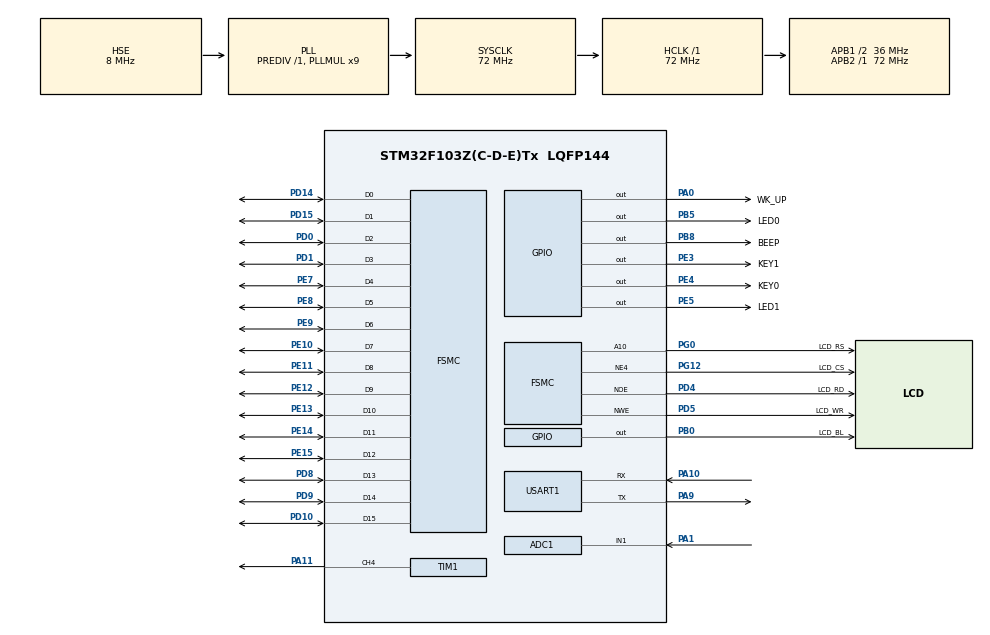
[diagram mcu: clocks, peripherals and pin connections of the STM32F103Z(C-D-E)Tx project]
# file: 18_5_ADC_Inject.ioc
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ADC1.Channel-1\#ChannelInjectedConversion=ADC_CHANNEL_1
ADC1.ContinuousConvMode=ENABLE
ADC1.EnableInjectedConversion=ENABLE
ADC1.EnableRegularConversion=DISABLE
ADC1.ExternalTrigInjecConv=ADC_EXTERNALTRIGINJECCONV_T1_CC4
ADC1.InjNumberOfConversion=1
ADC1.InjectedOffset-1\#ChannelInjectedConversion=0
ADC1.InjectedRank-1\#ChannelInjectedConversion=1
ADC1.SamplingTime-1\#ChannelInjectedConversion=ADC_SAMPLETIME_239CYCLES_5
ADC1.master=1
FSMC.AddressSetupTime1=0
FSMC.BusTurnAroundDuration1=15
FSMC.DataSetupTime1=15
FSMC.ExtendedAddressSetupTime1=0
FSMC.ExtendedDataSetupTime1=1
FSMC.ExtendedMode1=FSMC_EXTENDED_MODE_ENABLE
Mcu.Family=STM32F1
Mcu.Name=STM32F103Z(C-D-E)Tx
Mcu.Package=LQFP144
NVIC.ADC1_2_IRQn=true\:0\:0\:false\:false\:true\:true\:true\:true
NVIC.PriorityGroup=NVIC_PRIORITYGROUP_2
NVIC.USART1_IRQn=true\:2\:2\:true\:false\:true\:true\:true\:true
OSC_IN.Mode=HSE-External-Oscillator
OSC_IN.Signal=RCC_OSC_IN
OSC_OUT.Mode=HSE-External-Oscillator
OSC_OUT.Signal=RCC_OSC_OUT
PA0-WKUP.GPIO_Label=WK_UP
PA0-WKUP.GPIO_PuPd=GPIO_PULLDOWN
PA0-WKUP.GPIO_Speed=GPIO_SPEED_FREQ_HIGH
PA0-WKUP.PinState=GPIO_PIN_RESET
PA0-WKUP.Signal=GPIO_Output
PA1.Signal=ADCx_IN1
PA10.Mode=Asynchronous
PA10.Signal=USART1_RX
PA11.Signal=S_TIM1_CH4
PA13.Mode=Serial_Wire
PA13.Signal=SYS_JTMS-SWDIO
PA14.Mode=Serial_Wire
PA14.Signal=SYS_JTCK-SWCLK
PA9.Mode=Asynchronous
PA9.Signal=USART1_TX
PB0.GPIO_Label=LCD_BL
PB0.GPIO_PuPd=GPIO_PULLUP
PB0.GPIO_Speed=GPIO_SPEED_FREQ_HIGH
PB0.PinState=GPIO_PIN_SET
PB0.Signal=GPIO_Output
PB5.GPIO_Label=LED0
PB5.GPIO_PuPd=GPIO_PULLUP
PB5.GPIO_Speed=GPIO_SPEED_FREQ_HIGH
PB5.PinState=GPIO_PIN_SET
PB5.Signal=GPIO_Output
PB8.GPIO_Label=BEEP
PB8.GPIO_ModeDefaultOutputPP=GPIO_MODE_OUTPUT_PP
PB8.GPIO_PuPd=GPIO_PULLDOWN
PB8.GPIO_Speed=GPIO_SPEED_FREQ_HIGH
PB8.PinState=GPIO_PIN_RESET
PB8.Signal=GPIO_Output
PC14-OSC32_IN.Mode=LSE-External-Oscillator
PC14-OSC32_IN.Signal=RCC_OSC32_IN
PC15-OSC32_OUT.Mode=LSE-External-Oscillator
PC15-OSC32_OUT.Signal=RCC_OSC32_OUT
PD0.Signal=FSMC_D2_DA2
PD1.Signal=FSMC_D3_DA3
PD10.Signal=FSMC_D15_DA15
PD14.Signal=FSMC_D0_DA0
PD15.Signal=FSMC_D1_DA1
PD4.GPIO_Label=LCD_RD
PD4.Signal=FSMC_NOE
PD5.GPIO_Label=LCD_WR
PD5.Signal=FSMC_NWE
PD8.Signal=FSMC_D13_DA13
PD9.Signal=FSMC_D14_DA14
PE10.Signal=FSMC_D7_DA7
PE11.Signal=FSMC_D8_DA8
PE12.Signal=FSMC_D9_DA9
PE13.Signal=FSMC_D10_DA10
PE14.Signal=FSMC_D11_DA11
PE15.Signal=FSMC_D12_DA12
PE3.GPIO_Label=KEY1
PE3.GPIO_PuPd=GPIO_PULLUP
PE3.GPIO_Speed=GPIO_SPEED_FREQ_HIGH
PE3.PinState=GPIO_PIN_SET
PE3.Signal=GPIO_Output
PE4.GPIO_Label=KEY0
PE4.GPIO_PuPd=GPIO_PULLUP
PE4.GPIO_Speed=GPIO_SPEED_FREQ_HIGH
PE4.PinState=GPIO_PIN_SET
PE4.Signal=GPIO_Output
PE5.GPIO_Label=LED1
PE5.GPIO_PuPd=GPIO_PULLUP
PE5.GPIO_Speed=GPIO_SPEED_FREQ_HIGH
PE5.PinState=GPIO_PIN_SET
PE5.Signal=GPIO_Output
PE7.Signal=FSMC_D4_DA4
PE8.Signal=FSMC_D5_DA5
PE9.Signal=FSMC_D6_DA6
PG0.GPIO_Label=LCD_RS
PG0.Signal=FSMC_A10
PG12.GPIO_Label=LCD_CS
PG12.Mode=NorPsramChipSelect4_1
PG12.Signal=FSMC_NE4
ProjectManager.HeapSize=0x200
ProjectManager.StackSize=0x400
ProjectManager.TargetToolchain=STM32CubeIDE
RCC.ADCPresc=RCC_ADCPCLK2_DIV6
RCC.AHBFreq_Value=72000000
RCC.APB1CLKDivider=RCC_HCLK_DIV2
RCC.APB1Freq_Value=36000000
RCC.APB1TimFreq_Value=72000000
RCC.APB2Freq_Value=72000000
RCC.APB2TimFreq_Value=72000000
RCC.HCLKFreq_Value=72000000
RCC.PLLMUL=RCC_PLL_MUL9
RCC.PLLSourceVirtual=RCC_PLLSOURCE_HSE
RCC.SYSCLKFreq_VALUE=72000000
RCC.SYSCLKSource=RCC_SYSCLKSOURCE_PLLCLK
RCC.USBFreq_Value=72000000
SH.ADCx_IN1.0=ADC1_IN1,IN1
SH.FSMC_A10.0=FSMC_A10,A10_1
SH.FSMC_D0_DA0.0=FSMC_D0,16b-d1
SH.FSMC_D10_DA10.0=FSMC_D10,16b-d1
SH.FSMC_D11_DA11.0=FSMC_D11,16b-d1
SH.FSMC_D12_DA12.0=FSMC_D12,16b-d1
SH.FSMC_D13_DA13.0=FSMC_D13,16b-d1
SH.FSMC_D14_DA14.0=FSMC_D14,16b-d1
SH.FSMC_D15_DA15.0=FSMC_D15,16b-d1
SH.FSMC_D1_DA1.0=FSMC_D1,16b-d1
SH.FSMC_D2_DA2.0=FSMC_D2,16b-d1
SH.FSMC_D3_DA3.0=FSMC_D3,16b-d1
SH.FSMC_D4_DA4.0=FSMC_D4,16b-d1
SH.FSMC_D5_DA5.0=FSMC_D5,16b-d1
SH.FSMC_D6_DA6.0=FSMC_D6,16b-d1
SH.FSMC_D7_DA7.0=FSMC_D7,16b-d1
SH.FSMC_D8_DA8.0=FSMC_D8,16b-d1
SH.FSMC_D9_DA9.0=FSMC_D9,16b-d1
SH.FSMC_NOE.0=FSMC_NOE,Lcd1
SH.FSMC_NWE.0=FSMC_NWE,Lcd1
SH.S_TIM1_CH4.0=TIM1_CH4,PWM Generation4 CH4
TIM1.AutoReloadPreload=TIM_AUTORELOAD_PRELOAD_ENABLE
TIM1.Channel-PWM\ Generation4\ CH4=TIM_CHANNEL_4
TIM1.Period=5000 - 1
TIM1.Prescaler=7200 - 1
TIM1.Pulse-PWM\ Generation4\ CH4=2500
USART1.VirtualMode=VM_ASYNC
VP_TIM1_VS_ClockSourceINT.Mode=Internal
board=custom

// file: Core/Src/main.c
/* USER CODE BEGIN Header */

/* USER CODE END Header */
#include "main.h"
#include "adc.h"
#include "tim.h"
#include "usart.h"
#include "gpio.h"
#include "fsmc.h"

/* USER CODE BEGIN Includes */
#include "../../BSP/LED/led.h"
#include "../../BSP/KEY/key.h"
#include "../../BSP/LCD/lcd.h"
#include "../../SYSTEM/delay/delay.h"
/* USER CODE END Includes */

void SystemClock_Config(void);
/* USER CODE BEGIN PFP */
extern uint8_t g_inject_sta;
/* USER CODE END PFP */

int main(void)
{
  /* USER CODE BEGIN 1 */
	uint8_t t = 0;
    float temp;
    uint16_t inject_value = 0;
    float inject_v = 0;
  /* USER CODE END 1 */

  /* MCU Configuration--------------------------------------------------------*/

  /* Reset of all peripherals, Initializes the Flash interface and the Systick. */
  HAL_Init();

  /* Configure the system clock */
  SystemClock_Config();

  /* USER CODE BEGIN SysInit */
  delay_init(72);						   /* 初始化延时函数 */
  /* USER CODE END SysInit */

  /* Initialize all configured peripherals */
  MX_GPIO_Init();
  MX_FSMC_Init();
  MX_USART1_UART_Init();
  MX_ADC1_Init();
  MX_TIM1_Init();
  /* USER CODE BEGIN 2 */
  HAL_ADCEx_InjectedStart_IT(&hadc1);									/* 使能注入通道的转换和中断 */
  HAL_TIM_PWM_Start(&htim1, TIM_CHANNEL_4);								/* 开启定时器的输出，进而触发ADC转换 */

  lcd_init();                                         					/* 初始化LCD */
  lcd_show_string(30,  50, 200, 16, 16, "STM32", RED);
  lcd_show_string(30,  70, 200, 16, 16, "ADC INJECT TEST", RED);
  lcd_show_string(30,  90, 200, 16, 16, "ATOM@ALIENTEK", RED);
  lcd_show_string(30, 110, 200, 16, 16, "ADC1_CH1_VAL:", BLUE);
  lcd_show_string(30, 130, 200, 16, 16, "ADC1_CH1_VOL:0.000V", BLUE); 	/* 先在固定位置显示小数点 */

  /* USER CODE END 2 */

  /* Infinite loop */
  /* USER CODE BEGIN WHILE */
  while (1)
  {
	  if(key_scan(0) == KEY0_PRES)
	  {
		  HAL_TIM_PWM_Start(&htim1, TIM_CHANNEL_4);			  /* 使能定时器输出，触发注入通道的转换 */
	  }
	  if(g_inject_sta == 1)									  /* 注入模式触发成功，定时器500ms触发一次 */
	  {
		  g_inject_sta = 0;
		  inject_value = HAL_ADCEx_InjectedGetValue(&hadc1, ADC_INJECTED_RANK_1);
		  inject_v = inject_value * 3.3/4096;
		  printf("注入通道电压值：%.2f, 原始值：%d\r\n", inject_v, inject_value);
		  /* 显示结果 */
		  lcd_show_xnum(134, 110, inject_value, 4, 16, 0, BLUE);      	/* 显示ADCC采样后的原始值 */

		  temp = (float)inject_value * (3.3 / 4096);                  	/* 获取计算后的带小数的实际电压值，比如3.1111 */
		  inject_value = temp;                                        	/* 赋值整数部分给adcx变量，因为adcx为u16整形 */
		  lcd_show_xnum(134, 130, inject_value, 1, 16, 0, BLUE);      	/* 显示电压值的整数部分，3.1111的话，这里就是显示3 */

		  temp -= inject_value;                                       	/* 把已经显示的整数部分去掉，留下小数部分，比如3.1111-3=0.1111 */
		  temp *= 1000;                                       			/* 小数部分乘以1000，例如：0.1111就转换为111.1，相当于保留三位小数。 */
		  lcd_show_xnum(150, 130, temp, 3, 16, 0X80, BLUE);   			/* 显示小数部分（前面转换为了整形显示），这里显示的就是111. */

	  }
	  t++;
	  if(t % 50 == 0)
	  {
		  t = 0;
		  LED0_TOGGLE();
	  }
	  delay_ms(10);

    /* USER CODE END WHILE */

  }
}

void SystemClock_Config(void)
{
  RCC_OscInitTypeDef RCC_OscInitStruct = {0};
  RCC_ClkInitTypeDef RCC_ClkInitStruct = {0};
  RCC_PeriphCLKInitTypeDef PeriphClkInit = {0};

  /** Initializes the RCC Oscillators according to the specified parameters
  * in the RCC_OscInitTypeDef structure.
  */
  RCC_OscInitStruct.OscillatorType = RCC_OSCILLATORTYPE_HSE;
  RCC_OscInitStruct.HSEState = RCC_HSE_ON;
  RCC_OscInitStruct.HSEPredivValue = RCC_HSE_PREDIV_DIV1;
  RCC_OscInitStruct.HSIState = RCC_HSI_ON;
  RCC_OscInitStruct.PLL.PLLState = RCC_PLL_ON;
  RCC_OscInitStruct.PLL.PLLSource = RCC_PLLSOURCE_HSE;
  RCC_OscInitStruct.PLL.PLLMUL = RCC_PLL_MUL9;
  if (HAL_RCC_OscConfig(&RCC_OscInitStruct) != HAL_OK)
  {
    Error_Handler();
  }

  /** Initializes the CPU, AHB and APB buses clocks
  */
  RCC_ClkInitStruct.ClockType = RCC_CLOCKTYPE_HCLK|RCC_CLOCKTYPE_SYSCLK
                              |RCC_CLOCKTYPE_PCLK1|RCC_CLOCKTYPE_PCLK2;
  RCC_ClkInitStruct.SYSCLKSource = RCC_SYSCLKSOURCE_PLLCLK;
  RCC_ClkInitStruct.AHBCLKDivider = RCC_SYSCLK_DIV1;
  RCC_ClkInitStruct.APB1CLKDivider = RCC_HCLK_DIV2;
  RCC_ClkInitStruct.APB2CLKDivider = RCC_HCLK_DIV1;

  if (HAL_RCC_ClockConfig(&RCC_ClkInitStruct, FLASH_LATENCY_2) != HAL_OK)
  {
    Error_Handler();
  }
  PeriphClkInit.PeriphClockSelection = RCC_PERIPHCLK_ADC;
  PeriphClkInit.AdcClockSelection = RCC_ADCPCLK2_DIV6;
  if (HAL_RCCEx_PeriphCLKConfig(&PeriphClkInit) != HAL_OK)
  {
    Error_Handler();
  }
}

void Error_Handler(void)
{
  __disable_irq();
  while (1)
  {
  }
}
